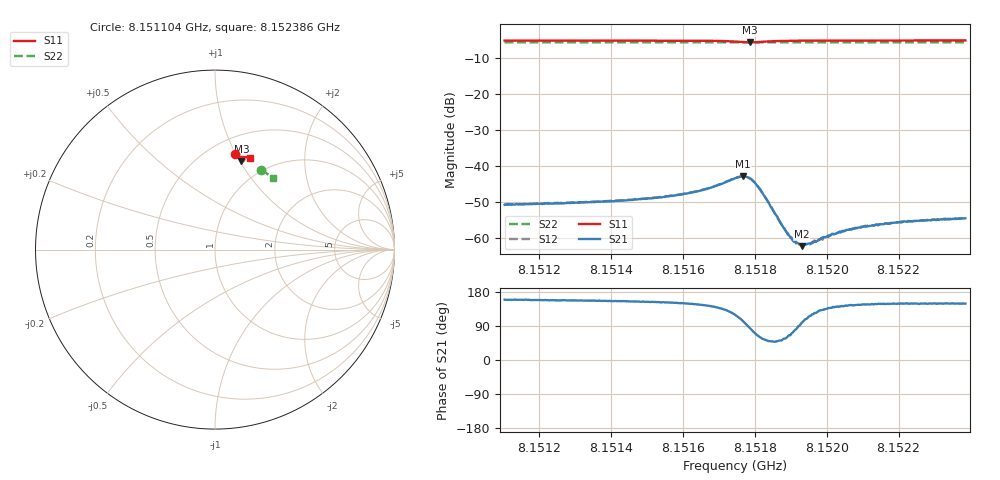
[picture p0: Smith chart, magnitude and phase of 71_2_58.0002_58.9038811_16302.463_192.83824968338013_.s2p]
#  HZ  S  RI  R  50.00
! Rohde & Schwarz Vector Network Analyzer
! Rohde-Schwarz,ZNB20-2Port,1311601062101988,3.16
! Created: UTC 3/21/2024, 12:53:24 AM
! freq[Hz]  re:S11  im:S11  re:S21  im:S21  re:S12  im:S12  re:S22  im:S22
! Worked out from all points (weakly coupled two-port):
!   401 points, 8.151104 GHz to 8.152386 GHz, reference 50 ohm
!   highest |S21| = -42.88 dB at 8.151767 GHz (marker M1); lowest = -62.1 dB at 8.151931 GHz (marker M2)
!   lowest |S11| = -5.8 dB at 8.151787 GHz (marker M3), VSWR 3.11, Z = 38.1 + j50.7 ohm
!   |S11| at or under -10 dB: nowhere
!   |S22| runs from -5.8 to -5.8 dB; largest |S21 - S12| = 0.00016
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8.151104e9  0.1116 0.5315  -0.00272 0.00103  -0.00276 0.00107  0.2582 0.4446
8.1513188e9  0.1274 0.5281  -0.00291 0.00124  -0.0029 0.00127  0.2701 0.4373
8.1515335e9  0.1443 0.5233  -0.00328 0.00169  -0.00328 0.00177  0.2815 0.4294
8.1516457e9  0.1553 0.518  -0.00377 0.00254  -0.00377 0.00259  0.2875 0.4252
8.1516969e9  0.1612 0.5125  -0.00407 0.00362  -0.00404 0.00369  0.2903 0.423
8.151745e9  0.1633 0.4999  -0.00336 0.0059  -0.00329 0.00599  0.2927 0.4208
8.1517674e9  0.1574 0.4924  -0.00156 0.00701  -0.00146 0.00707  0.2933 0.4198
8.1517867e9  0.1474 0.4913  0.000744 0.00669  0.000829 0.00674  0.2939 0.4194
8.1517995e9  0.1417 0.495  0.00187 0.00564  0.00194 0.00568  0.2944 0.4191
8.1518155e9  0.1388 0.502  0.00237 0.00403  0.00248 0.00406  0.2952 0.4188
8.15187e9  0.146 0.5153  0.00105 0.00133  0.0011 0.00129  0.2984 0.4172
8.1518956e9  0.1503 0.5171  0.000456 0.001  0.000475 0.000998  0.2998 0.4163
8.1519149e9  0.153 0.5177  0.00013 0.000844  0.000155 0.000911  0.3009 0.4155
8.1519309e9  0.1551 0.5179  -0.000111 0.000774  -9.33e-05 0.00083  0.3017 0.4149
8.1519597e9  0.1588 0.5178  -0.000433 0.000743  -0.000423 0.000792  0.3033 0.4138
8.1519854e9  0.1614 0.5178  -0.000661 0.000744  -0.000656 0.000782  0.3046 0.4127
8.1520206e9  0.1648 0.5174  -0.000859 0.00075  -0.000846 0.000773  0.3064 0.4114
8.1520591e9  0.1682 0.5167  -0.00106 0.000776  -0.00104 0.000805  0.3086 0.4098
8.1521007e9  0.1717 0.5159  -0.00121 0.000795  -0.0012 0.00085  0.3108 0.4082
8.1521745e9  0.1775 0.5143  -0.00135 0.000856  -0.00138 0.000866  0.3143 0.4052
8.1522257e9  0.1814 0.5131  -0.00146 0.000879  -0.00148 0.000914  0.3169 0.403
8.152386e9  0.1928 0.5095  -0.00163 0.00099  -0.00161 0.00101  0.325 0.3965
